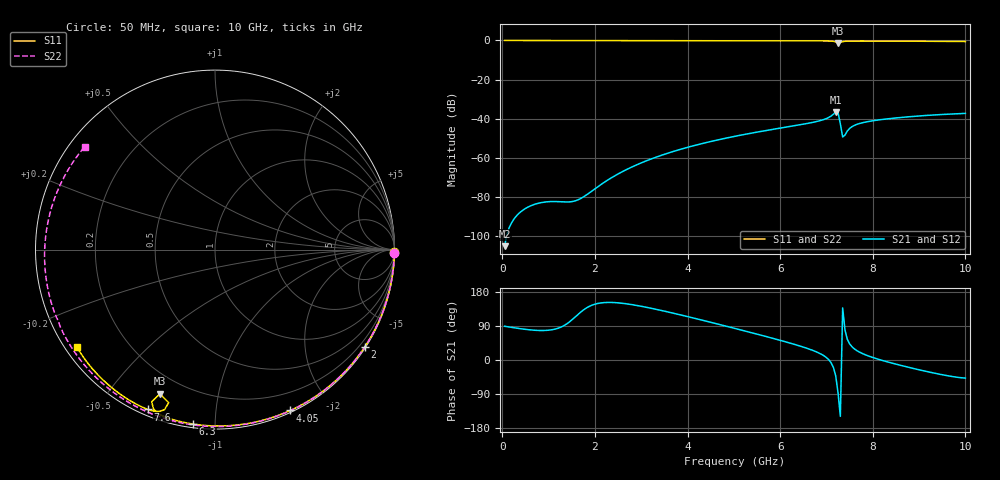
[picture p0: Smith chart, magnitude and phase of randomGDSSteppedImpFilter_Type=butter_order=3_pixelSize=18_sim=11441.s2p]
! freq	dB(S11)	phase(S11)	dB(S12)	phase(S12)
!  dB(S21)	phase(S21)	dB(S22)	phase(S22)
!S-par simulation data
#  GHz  S  DB  R 50
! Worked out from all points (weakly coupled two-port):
!   200 points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, 50 MHz to 10 GHz, reference 50 ohm
!   highest |S21| = -36.51 dB at 7.2 GHz (marker M1); lowest = -105.0 dB at 50 MHz (marker M2)
!   lowest |S11| = -1.3 dB at 7.25 GHz (marker M3), VSWR 13.26, Z = 5.54 - j34.1 ohm
!   |S11| at or under -10 dB: nowhere
!   |S22| runs from -0.7 to 0.0 dB; largest |S21 - S12| = 0
!   S11 on the Smith chart (normalised r, x): 50 MHz: open; 2 GHz: 0.03, -3.37; 4.05 GHz: 0.02, -1.57; 6.3 GHz: 0.02, -0.88; 7.6 GHz: 0.02, -0.66; 10 GHz: 0.03, -0.32
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0.05  -0.00 -0.8  -104.96 89.0  -104.96 89.0  -0.00 -1.2
0.85  -0.02 -14.2  -82.70 77.8  -82.70 77.8  -0.03 -20.1
1.75  -0.04 -29.0  -79.87 131.8  -79.87 131.8  -0.05 -40.8
2  -0.04 -33.0  -75.70 147.3  -75.70 147.3  -0.06 -46.5
2.65  -0.06 -43.4  -66.24 148.8  -66.24 148.8  -0.08 -60.9
3.4  -0.07 -55.0  -58.89 131.7  -58.89 131.7  -0.10 -77.1
4.05  -0.09 -64.9  -54.22 113.1  -54.22 113.1  -0.12 -90.7
5.05  -0.12 -79.5  -48.77 82.5  -48.77 82.5  -0.17 -111.0
6.3  -0.18 -97.1  -43.55 41.6  -43.55 41.6  -0.25 -135.8
6.7  -0.21 -102.8  -41.83 25.6  -41.83 25.6  -0.28 -143.8
7  -0.26 -107.7  -39.83 6.3  -39.83 6.3  -0.30 -149.9
7.2  -0.74 -112.6  -36.51 -41.8  -36.51 -41.8  -0.33 -154.0
7.25  -1.31 -110.9  -36.80 -86.7  -36.80 -86.7  -0.35 -155.0
7.3  -1.00 -106.8  -42.57 -148.7  -42.57 -148.7  -0.35 -155.9
7.35  -0.59 -107.5  -49.25 137.5  -49.25 137.5  -0.35 -156.9
7.4  -0.43 -108.8  -48.26 79.0  -48.26 79.0  -0.35 -158.0
7.5  -0.33 -111.0  -44.89 42.7  -44.89 42.7  -0.36 -160.1
7.6  -0.30 -112.8  -43.37 29.5  -43.37 29.5  -0.36 -162.1
7.85  -0.30 -116.5  -41.60 13.2  -41.60 13.2  -0.39 -167.4
8.35  -0.33 -123.3  -39.90 -6.1  -39.90 -6.1  -0.45 -178.2
9.2  -0.41 -134.3  -38.20 -31.3  -38.20 -31.3  -0.56 162.2
10  -0.53 -145.0  -37.21 -47.7  -37.21 -47.7  -0.68 141.7
